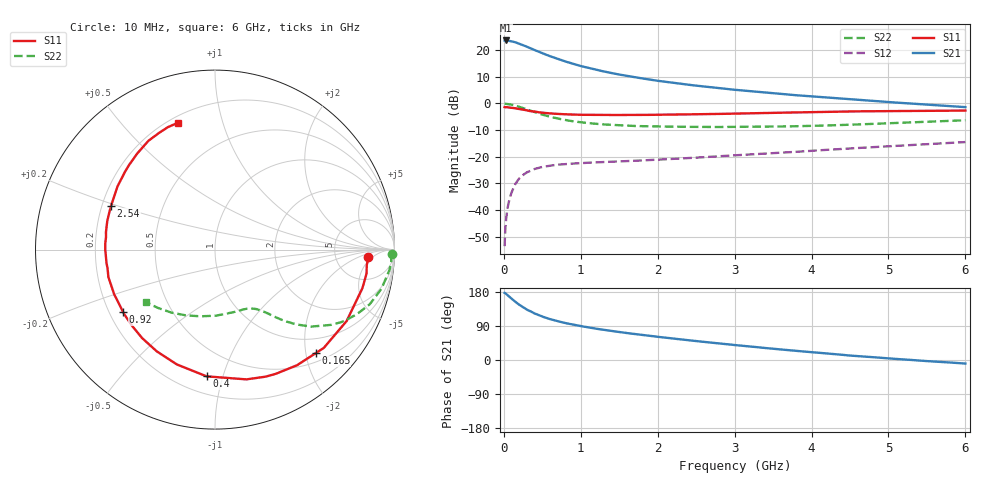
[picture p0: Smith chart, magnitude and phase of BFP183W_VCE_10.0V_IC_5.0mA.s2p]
! Infineon Technologies  Discrete & RF Semiconductors
! BFP183W
! VCE = 10.0V,  IC =  5.0 mA
! Common Emitter S-Parameters:  Jan 2016
# GHz  S  MA  R  50
!  f  S11  S21  S12  S22
! GHz  MAG  ANG  MAG  ANG  MAG  ANG  MAG  ANG
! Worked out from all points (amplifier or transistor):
!   210 points, 10 MHz to 6 GHz, reference 50 ohm
!   highest |S21| = 23.7 dB at 30 MHz (marker M1)
!   |S21| within 3 dB of that: start of sweep to 350.5 MHz
!   unconditionally stable (mu >= 1): 1.87 GHz to 5.736 GHz
!   at 185 MHz: K = 0.15, MSG = 25.7 dB, |S12| = -28.7 dB
!   at 1.52 GHz: K = 0.87, MSG = 16.2 dB, |S12| = -21.7 dB
!   at 6 GHz: K = 0.98, MSG = 6.6 dB, |S12| = -14.5 dB
!   S11 on the Smith chart (normalised r, x): 10 MHz: 12, -4; 165 MHz: 0.67, -2.20; 400 MHz: 0.31, -0.89; 920 MHz: 0.26, -0.29; 2.54 GHz: 0.24, +0.19; 6 GHz: 0.23, +0.73
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0.01  0.8559 -2.9  15.18 177.1  0.0021 86.2  0.988 -1.3
0.03  0.8548 -8.9  15.23 174.4  0.0068 84.6  0.9843 -4.1
0.1  0.8344 -28.5  14.68 162.0  0.0213 74.1  0.9525 -13.3
0.15  0.817 -42.1  14.08 153.5  0.0309 67.7  0.9146 -19.4
0.165  0.8049 -45.8  13.82 151.3  0.0333 65.6  0.9 -20.9
0.2  0.7899 -54.6  13.29 145.8  0.0391 61.8  0.8683 -24.5
0.26  0.7622 -68.2  12.3 138.1  0.0466 55.7  0.8106 -29.9
0.3  0.7439 -76.4  11.59 132.9  0.051 52.3  0.7717 -32.9
0.4  0.7077 -93.8  10.07 122.8  0.059 44.9  0.6864 -38.7
0.5  0.6743 -108.3  8.779 114.4  0.0645 40.0  0.6173 -42.5
0.6  0.6533 -119.7  7.709 107.9  0.0682 36.6  0.5638 -45.3
0.8  0.6274 -137.6  6.133 97.4  0.0729 32.2  0.4889 -49.0
0.92  0.6188 -145.9  5.449 92.5  0.0748 30.7  0.4587 -50.6
1.02  0.6135 -151.7  4.964 88.8  0.0761 30.0  0.4402 -51.8
1.26  0.6122 -163.8  4.108 80.7  0.0793 29.0  0.4086 -54.7
1.5  0.6091 -172.9  3.492 73.9  0.0818 29.3  0.389 -57.6
2.02  0.6156 170.4  2.644 60.8  0.0886 31.3  0.3688 -64.5
2.54  0.6279 157.2  2.128 49.2  0.097 33.4  0.3637 -72.8
3.1  0.65 145.0  1.756 37.6  0.1085 35.0  0.3641 -83.0
4.1  0.6921 127.5  1.327 19.0  0.1323 35.8  0.383 -104.6
5.1  0.7226 114.7  1.04 2.8  0.1603 34.1  0.431 -126.6
6  0.7362 106.1  0.855 -9.4  0.1888 31.3  0.4845 -142.9
